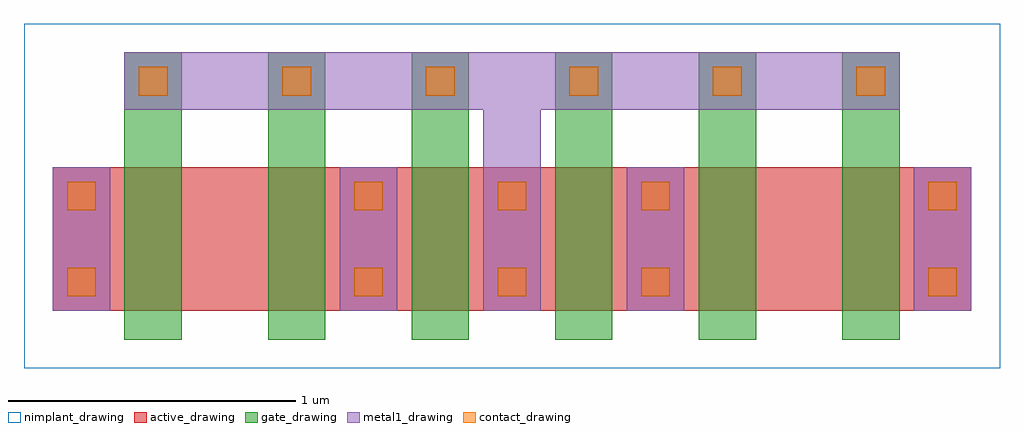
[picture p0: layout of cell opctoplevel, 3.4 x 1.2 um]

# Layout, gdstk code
import gdstk
lib = gdstk.Library(unit=1e-6, precision=1e-09)
def R(c, l, rs):  # rectangles x0, y0, x1, y1
    for r in rs: c.add(gdstk.rectangle(r[:2], r[2:], *l))
def A(c, l, x, y, w, h, nx, ny, dx, dy):  # array of equal rectangles
    R(c, l, [(x+i*dx, y+j*dy, x+i*dx+w, y+j*dy+h) for i in range(nx) for j in range(ny)])
active_drawing = (1, 0)
nimplant_drawing = (5, 0)
gate_drawing = (6, 0)
contact_drawing = (7, 0)
metal1_drawing = (8, 0)

opctoplevel = lib.new_cell('opctoplevel')
R(opctoplevel, active_drawing, [(-0.25,0,2.95,0.5)])
R(opctoplevel, nimplant_drawing, [(-0.35,-0.2,3.05,1)])
A(opctoplevel, gate_drawing, 0, -0.1, 0.2, 1, 6, 1, 0.5, 0)
A(opctoplevel, contact_drawing, 0.8, 0.05, 0.1, 0.1, 3, 2, 0.5, 0.3)
A(opctoplevel, contact_drawing, 0.05, 0.75, 0.1, 0.1, 6, 1, 0.5, 0)
R(opctoplevel, contact_drawing, [(-0.2,0.05,-0.1,0.15), (2.8,0.05,2.9,0.15), (-0.2,0.35,-0.1,0.45), (2.8,0.35,2.9,0.45)])
A(opctoplevel, metal1_drawing, 0.75, 0, 0.2, 0.5, 3, 1, 0.5, 0)
R(opctoplevel, metal1_drawing, [(-0.25,0,-0.05,0.5), (2.75,0,2.95,0.5), (1.25,0.5,1.45,0.7), (0,0.7,2.7,0.9)])

lib.write_gds('opctoplevel.gds')
